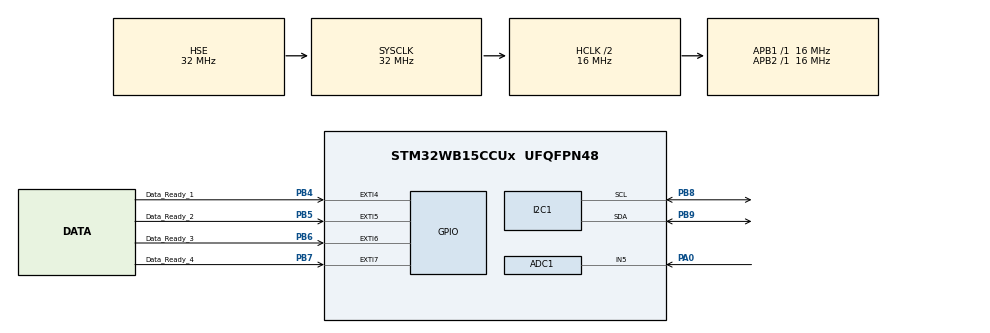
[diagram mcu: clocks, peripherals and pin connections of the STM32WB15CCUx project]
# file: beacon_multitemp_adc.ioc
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ADC1.Channel-1\#ChannelRegularConversion=ADC_CHANNEL_5
ADC1.ClockPrescaler=ADC_CLOCK_SYNC_PCLK_DIV4
ADC1.ExternalTrigConv=ADC_EXTERNALTRIG_T2_TRGO
ADC1.NbrOfConversionFlag=1
ADC1.Overrun=ADC_OVR_DATA_OVERWRITTEN
ADC1.Rank-1\#ChannelRegularConversion=1
ADC1.SamplingTime-1\#ChannelRegularConversion=ADC_SAMPLINGTIME_COMMON_1
ADC1.SamplingTimeCommon1=ADC_SAMPLETIME_79CYCLES_5
ADC1.SelectedChannel=ADC_CHANNEL_5
ADC1.master=1
Dma.ADC1.0.Direction=DMA_PERIPH_TO_MEMORY
Dma.ADC1.0.EventEnable=DISABLE
Dma.ADC1.0.Instance=DMA1_Channel1
Dma.ADC1.0.MemDataAlignment=DMA_MDATAALIGN_HALFWORD
Dma.ADC1.0.MemInc=DMA_MINC_ENABLE
Dma.ADC1.0.Mode=DMA_CIRCULAR
Dma.ADC1.0.PeriphDataAlignment=DMA_PDATAALIGN_HALFWORD
Dma.ADC1.0.PeriphInc=DMA_PINC_DISABLE
Dma.ADC1.0.Polarity=HAL_DMAMUX_REQ_GEN_RISING
Dma.ADC1.0.Priority=DMA_PRIORITY_LOW
Dma.ADC1.0.RequestNumber=1
Dma.ADC1.0.SignalID=NONE
Dma.ADC1.0.SyncEnable=DISABLE
Dma.ADC1.0.SyncPolarity=HAL_DMAMUX_SYNC_NO_EVENT
Dma.ADC1.0.SyncRequestNumber=1
Dma.ADC1.0.SyncSignalID=NONE
Dma.Request0=ADC1
I2C1.Timing=0x00303D5B
Mcu.Family=STM32WB
Mcu.Name=STM32WB15CCUx
Mcu.Package=UFQFPN48
NVIC.ADC1_IRQn=true\:0\:0\:false\:false\:true\:true\:true\:true
NVIC.DMA1_Channel1_IRQn=true\:0\:0\:false\:false\:true\:false\:true\:true
NVIC.EXTI4_IRQn=true\:15\:0\:true\:false\:true\:true\:true\:true
NVIC.EXTI9_5_IRQn=true\:15\:0\:true\:false\:true\:true\:true\:true
NVIC.HSEM_IRQn=true\:0\:0\:false\:false\:true\:false\:true\:true
NVIC.IPCC_C1_RX_IRQn=true\:0\:0\:false\:false\:true\:true\:true\:true
NVIC.IPCC_C1_TX_IRQn=true\:0\:0\:false\:false\:true\:true\:true\:true
NVIC.PriorityGroup=NVIC_PRIORITYGROUP_4
NVIC.RTC_WKUP_IRQn=true\:15\:0\:true\:false\:true\:true\:true\:true
OSC_IN.Mode=HSE-External-Oscillator
OSC_IN.Signal=RCC_OSC_IN
OSC_OUT.Mode=HSE-External-Oscillator
OSC_OUT.Signal=RCC_OSC_OUT
PA0.Signal=ADCx_IN5
PB4.GPIO_Label=Data_Ready_1
PB4.GPIO_ModeDefaultEXTI=GPIO_MODE_IT_FALLING
PB4.Signal=GPXTI4
PB5.GPIO_Label=Data_Ready_2
PB5.GPIO_ModeDefaultEXTI=GPIO_MODE_IT_FALLING
PB5.Signal=GPXTI5
PB6.GPIO_Label=Data_Ready_3
PB6.GPIO_ModeDefaultEXTI=GPIO_MODE_IT_FALLING
PB6.Signal=GPXTI6
PB7.GPIO_Label=Data_Ready_4
PB7.GPIO_ModeDefaultEXTI=GPIO_MODE_IT_FALLING
PB7.Signal=GPXTI7
PB8.Mode=I2C
PB8.Signal=I2C1_SCL
PB9.Mode=I2C
PB9.Signal=I2C1_SDA
PC14-OSC32_IN.Mode=LSE-External-Oscillator
PC14-OSC32_IN.Signal=RCC_OSC32_IN
PC15-OSC32_OUT.Mode=LSE-External-Oscillator
PC15-OSC32_OUT.Signal=RCC_OSC32_OUT
ProjectManager.HeapSize=0x200
ProjectManager.StackSize=0x400
ProjectManager.TargetToolchain=STM32CubeIDE
RCC.AHBCLKDivider=RCC_SYSCLK_DIV2
RCC.AHBFreq_Value=16000000
RCC.APB1Freq_Value=16000000
RCC.APB1TimFreq_Value=16000000
RCC.APB2Freq_Value=16000000
RCC.APB2TimFreq_Value=16000000
RCC.APB3Freq_Value=16000000
RCC.CortexFreq_Value=16000000
RCC.HCLKFreq_Value=16000000
RCC.HSE_VALUE=32000000
RCC.HSI_VALUE=16000000
RCC.LSE_Drive_Capability=RCC_LSEDRIVE_LOW
RCC.MSIClockRange=RCC_MSIRANGE_10
RCC.RFWKPClockSelection=RCC_RFWKPCLKSOURCE_LSE
RCC.RTCClockSelection=RCC_RTCCLKSOURCE_LSE
RCC.SYSCLKFreq_VALUE=32000000
RCC.SYSCLKSource=RCC_SYSCLKSOURCE_HSE
RCC.VCOOutputFreq_Value=256000000
RF1.Mode=RF1_Activate
RF1.Signal=RF_RF1
RTC.WakeUpCounter-WakeUp=0xFFFF
SH.ADCx_IN5.0=ADC1_IN5,IN5-Single-Ended
STM32_WPAN.BT_SIG_BEACON=CFG_IBEACON
STM32_WPAN.CFG_BLE_ATT_VALUE_ARRAY_SIZE=1290
STM32_WPAN.CFG_BLE_NUM_GATT_ATTRIBUTES=30
STM32_WPAN.CFG_BLE_NUM_GATT_SERVICES=4
STM32_WPAN.CFG_DEBUGGER_SUPPORTED=0
STM32_WPAN.CFG_IO_CAPABILITY=\ CFG_IO_CAPABILITY_NO_INPUT_NO_OUTPUT
STM32_WPAN.CFG_LPM_SUPPORTED=1
STM32_WPAN.CFG_TX_POWER=(0x19) /* 0dBm */
STM32_WPAN.CFG_USE_SMPS=1
STM32_WPAN.DBG_TRACE_USE_CIRCULAR_QUEUE=0
TIM2.Period=tim_period
TIM2.Prescaler=tim_prescaler
TIM2.TIM_MasterOutputTrigger=TIM_TRGO_UPDATE
VP_HSEM_VS_HSEM.Mode=HSEM_Activate
VP_IPCC_VS_IPCC.Mode=IPCC_Activate
VP_RTC_VS_RTC_Activate.Mode=RTC_Enabled
VP_RTC_VS_RTC_WakeUp_intern.Mode=WakeUp
VP_SEQUENCER_VS_SEQUENCER.Mode=SEQUENCER_Enabled
VP_STM32_WPAN_VS_BLE_HOST.Mode=STM32_WPAN_Enabled
VP_TIM2_VS_ClockSourceINT.Mode=Internal
VP_TINY_LPM_VS_TINY_LPM.Mode=TINY_LPM_Enabled
board=custom

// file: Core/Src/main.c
/* USER CODE BEGIN Header */
/**
  ******************************************************************************
  * @file           : main.c
  * @brief          : Main program body
  ******************************************************************************
  * @attention
  *
  * Copyright (c) 2023 STMicroelectronics.
  * All rights reserved.
  *
  * This software is licensed under terms that can be found in the LICENSE file
  * in the root directory of this software component.
  * If no LICENSE file comes with this software, it is provided AS-IS.
  *
  ******************************************************************************
  */
/* USER CODE END Header */
#include "main.h"

/* USER CODE BEGIN Includes */
#include "stm32_seq.h"
/* USER CODE END Includes */

ADC_HandleTypeDef hadc1;
DMA_HandleTypeDef hdma_adc1;

I2C_HandleTypeDef hi2c1;

IPCC_HandleTypeDef hipcc;

RTC_HandleTypeDef hrtc;

TIM_HandleTypeDef htim2;

/* USER CODE BEGIN PV */
/* Variables for ADC conversion data */
 __IO uint16_t uhADCxConvertedData[ADC_CONVERTED_DATA_BUFFER_SIZE]; /* ADC group regular conversion data (array of data) */

/* Variables for ADC conversion data computation to physical values */
 __IO uint16_t uhADCxConvertedData_Voltage_mVolt[ADC_CONVERTED_DATA_BUFFER_SIZE];  /* Value of voltage calculated from ADC conversion data (unit: mV) (array of data) */

/* Variable to report status of DMA transfer of ADC group regular conversions */
/*  0: DMA transfer is not completed                                          */
/*  1: DMA transfer is completed                                              */
/*  2: DMA transfer has not yet been started yet (initial state)              */
__IO uint8_t ubDmaTransferStatus = 2U; /* Variable set into DMA interruption callback */

uint8_t deviceToBeRead = 0;
/* USER CODE END PV */

void SystemClock_Config(void);
void PeriphCommonClock_Config(void);
static void MX_GPIO_Init(void);
static void MX_DMA_Init(void);
static void MX_RTC_Init(void);
static void MX_I2C1_Init(void);
static void MX_IPCC_Init(void);
static void MX_ADC1_Init(void);
static void MX_TIM2_Init(void);
static void MX_RF_Init(void);

int main(void)
{
  /* USER CODE BEGIN 1 */
	uint32_t tmp_index;

	  /* Initialize ADC group regular data buffer values */
	  for (tmp_index = 0; tmp_index < ADC_CONVERTED_DATA_BUFFER_SIZE; tmp_index++)
	  {
	    uhADCxConvertedData[tmp_index] = VAR_CONVERTED_DATA_INIT_VALUE;
	  }
  /* USER CODE END 1 */

  /* MCU Configuration--------------------------------------------------------*/

  /* Reset of all peripherals, Initializes the Flash interface and the Systick. */
  HAL_Init();
  /* Config code for STM32_WPAN (HSE Tuning must be done before system clock configuration) */
  MX_APPE_Config();

  /* Configure the system clock */
  SystemClock_Config();

/* Configure the peripherals common clocks */
  PeriphCommonClock_Config();

  /* IPCC initialisation */
  MX_IPCC_Init();

  /* Initialize all configured peripherals */
  MX_GPIO_Init();
  MX_DMA_Init();
  MX_RTC_Init();
  MX_I2C1_Init();
  MX_ADC1_Init();
  MX_TIM2_Init();
  MX_RF_Init();
  /* USER CODE BEGIN 2 */

  /* Perform ADC calibration */
   if (HAL_ADCEx_Calibration_Start(&hadc1, ADC_SINGLE_ENDED) != HAL_OK)
   {
     /* Calibration Error */
     Error_Handler();
   }

   /* Start ADC group regular conversion */
   if (HAL_ADC_Start_DMA(&hadc1,
                         (uint32_t *)uhADCxConvertedData,
                         ADC_CONVERTED_DATA_BUFFER_SIZE
                        ) != HAL_OK)
   {
     /* Error: ADC conversion start could not be performed */
     Error_Handler();
   }

   /* Start time base */
   if (HAL_TIM_Base_Start(&htim2) != HAL_OK)
   {
     /* Starting Error */
     Error_Handler();
   }

  /* USER CODE END 2 */

  /* Init code for STM32_WPAN */
  MX_APPE_Init();

  /* Infinite loop */
  while (1)
  {
    MX_APPE_Process();

  }
}

void SystemClock_Config(void)
{
  RCC_OscInitTypeDef RCC_OscInitStruct = {0};
  RCC_ClkInitTypeDef RCC_ClkInitStruct = {0};

  /** Configure LSE Drive Capability
  */
  HAL_PWR_EnableBkUpAccess();
  __HAL_RCC_LSEDRIVE_CONFIG(RCC_LSEDRIVE_LOW);

  /** Initializes the RCC Oscillators according to the specified parameters
  * in the RCC_OscInitTypeDef structure.
  */
  RCC_OscInitStruct.OscillatorType = RCC_OSCILLATORTYPE_HSI|RCC_OSCILLATORTYPE_HSE
                              |RCC_OSCILLATORTYPE_LSE;
  RCC_OscInitStruct.HSEState = RCC_HSE_ON;
  RCC_OscInitStruct.LSEState = RCC_LSE_ON;
  RCC_OscInitStruct.HSIState = RCC_HSI_ON;
  RCC_OscInitStruct.HSICalibrationValue = RCC_HSICALIBRATION_DEFAULT;
  RCC_OscInitStruct.PLL.PLLState = RCC_PLL_NONE;
  if (HAL_RCC_OscConfig(&RCC_OscInitStruct) != HAL_OK)
  {
    Error_Handler();
  }

  /** Configure the SYSCLKSource, HCLK, PCLK1 and PCLK2 clocks dividers
  */
  RCC_ClkInitStruct.ClockType = RCC_CLOCKTYPE_HCLK4|RCC_CLOCKTYPE_HCLK2
                              |RCC_CLOCKTYPE_HCLK|RCC_CLOCKTYPE_SYSCLK
                              |RCC_CLOCKTYPE_PCLK1|RCC_CLOCKTYPE_PCLK2;
  RCC_ClkInitStruct.SYSCLKSource = RCC_SYSCLKSOURCE_HSE;
  RCC_ClkInitStruct.AHBCLKDivider = RCC_SYSCLK_DIV2;
  RCC_ClkInitStruct.APB1CLKDivider = RCC_HCLK_DIV1;
  RCC_ClkInitStruct.APB2CLKDivider = RCC_HCLK_DIV1;
  RCC_ClkInitStruct.AHBCLK2Divider = RCC_SYSCLK_DIV1;
  RCC_ClkInitStruct.AHBCLK4Divider = RCC_SYSCLK_DIV1;

  if (HAL_RCC_ClockConfig(&RCC_ClkInitStruct, FLASH_LATENCY_1) != HAL_OK)
  {
    Error_Handler();
  }
}

void PeriphCommonClock_Config(void)
{
  RCC_PeriphCLKInitTypeDef PeriphClkInitStruct = {0};

  /** Initializes the peripherals clock
  */
  PeriphClkInitStruct.PeriphClockSelection = RCC_PERIPHCLK_SMPS|RCC_PERIPHCLK_RFWAKEUP;
  PeriphClkInitStruct.RFWakeUpClockSelection = RCC_RFWKPCLKSOURCE_LSE;
  PeriphClkInitStruct.SmpsClockSelection = RCC_SMPSCLKSOURCE_HSI;
  PeriphClkInitStruct.SmpsDivSelection = RCC_SMPSCLKDIV_RANGE1;

  if (HAL_RCCEx_PeriphCLKConfig(&PeriphClkInitStruct) != HAL_OK)
  {
    Error_Handler();
  }
}

static void MX_ADC1_Init(void)
{

  ADC_ChannelConfTypeDef sConfig = {0};

  /** Common config
  */
  hadc1.Instance = ADC1;
  hadc1.Init.ClockPrescaler = ADC_CLOCK_SYNC_PCLK_DIV4;
  hadc1.Init.Resolution = ADC_RESOLUTION_12B;
  hadc1.Init.DataAlign = ADC_DATAALIGN_RIGHT;
  hadc1.Init.ScanConvMode = ADC_SCAN_DISABLE;
  hadc1.Init.EOCSelection = ADC_EOC_SINGLE_CONV;
  hadc1.Init.SamplingTimeCommon1 = ADC_SAMPLETIME_79CYCLES_5;
  hadc1.Init.SamplingTimeCommon2 = ADC_SAMPLETIME_1CYCLE_5;
  hadc1.Init.LowPowerAutoWait = DISABLE;
  hadc1.Init.ContinuousConvMode = DISABLE;
  hadc1.Init.NbrOfConversion = 1;
  hadc1.Init.DiscontinuousConvMode = DISABLE;
  hadc1.Init.ExternalTrigConv = ADC_EXTERNALTRIG_T2_TRGO;
  hadc1.Init.ExternalTrigConvEdge = ADC_EXTERNALTRIGCONVEDGE_RISING;
  hadc1.Init.DMAContinuousRequests = DISABLE;
  hadc1.Init.Overrun = ADC_OVR_DATA_OVERWRITTEN;
  if (HAL_ADC_Init(&hadc1) != HAL_OK)
  {
    Error_Handler();
  }

  /** Configure Regular Channel
  */
  sConfig.Channel = ADC_CHANNEL_5;
  sConfig.Rank = ADC_REGULAR_RANK_1;
  sConfig.SamplingTime = ADC_SAMPLINGTIME_COMMON_1;
  if (HAL_ADC_ConfigChannel(&hadc1, &sConfig) != HAL_OK)
  {
    Error_Handler();
  }

}

static void MX_I2C1_Init(void)
{

  hi2c1.Instance = I2C1;
  hi2c1.Init.Timing = 0x00303D5B;
  hi2c1.Init.OwnAddress1 = 0;
  hi2c1.Init.AddressingMode = I2C_ADDRESSINGMODE_7BIT;
  hi2c1.Init.DualAddressMode = I2C_DUALADDRESS_DISABLE;
  hi2c1.Init.OwnAddress2 = 0;
  hi2c1.Init.OwnAddress2Masks = I2C_OA2_NOMASK;
  hi2c1.Init.GeneralCallMode = I2C_GENERALCALL_DISABLE;
  hi2c1.Init.NoStretchMode = I2C_NOSTRETCH_DISABLE;
  if (HAL_I2C_Init(&hi2c1) != HAL_OK)
  {
    Error_Handler();
  }

  /** Configure Analogue filter
  */
  if (HAL_I2CEx_ConfigAnalogFilter(&hi2c1, I2C_ANALOGFILTER_ENABLE) != HAL_OK)
  {
    Error_Handler();
  }

  /** Configure Digital filter
  */
  if (HAL_I2CEx_ConfigDigitalFilter(&hi2c1, 0) != HAL_OK)
  {
    Error_Handler();
  }

}

static void MX_IPCC_Init(void)
{

  hipcc.Instance = IPCC;
  if (HAL_IPCC_Init(&hipcc) != HAL_OK)
  {
    Error_Handler();
  }

}

static void MX_RF_Init(void)
{

}

static void MX_RTC_Init(void)
{

  /** Initialize RTC Only
  */
  hrtc.Instance = RTC;
  hrtc.Init.HourFormat = RTC_HOURFORMAT_24;
  hrtc.Init.AsynchPrediv = CFG_RTC_ASYNCH_PRESCALER;
  hrtc.Init.SynchPrediv = CFG_RTC_SYNCH_PRESCALER;
  hrtc.Init.OutPut = RTC_OUTPUT_DISABLE;
  hrtc.Init.OutPutPolarity = RTC_OUTPUT_POLARITY_HIGH;
  hrtc.Init.OutPutRemap = RTC_OUTPUT_REMAP_NONE;
  if (HAL_RTC_Init(&hrtc) != HAL_OK)
  {
    Error_Handler();
  }

  /** Enable the WakeUp
  */
  if (HAL_RTCEx_SetWakeUpTimer_IT(&hrtc, 0xFFFF, RTC_WAKEUPCLOCK_RTCCLK_DIV16) != HAL_OK)
  {
    Error_Handler();
  }
  /* USER CODE BEGIN RTC_Init 2 */
  HAL_RTCEx_DeactivateWakeUpTimer(&hrtc);
  /* USER CODE END RTC_Init 2 */

}

static void MX_TIM2_Init(void)
{

  /* USER CODE BEGIN TIM2_Init 0 */
	uint32_t tim_prescaler;
	  uint32_t tim_period;
  /* USER CODE END TIM2_Init 0 */

  TIM_ClockConfigTypeDef sClockSourceConfig = {0};
  TIM_MasterConfigTypeDef sMasterConfig = {0};

  /* USER CODE BEGIN TIM2_Init 1 */
  /* Set timer prescaler value (timer frequency) */
    /* Note: Value TIMER_FREQUENCY_RANGE_MAX_HZ with factor 2 to have a minimum
             timer resolution */
    tim_prescaler = __LL_TIM_CALC_PSC(SystemCoreClock, TIMER_FREQUENCY_RANGE_MAX_HZ * 2);

    /* Set timer period value (time base frequency) */
    tim_period = __LL_TIM_CALC_ARR(SystemCoreClock, tim_prescaler, TIMER_FREQUENCY_HZ);

  /* USER CODE END TIM2_Init 1 */
  htim2.Instance = TIM2;
  htim2.Init.Prescaler = tim_prescaler;
  htim2.Init.CounterMode = TIM_COUNTERMODE_UP;
  htim2.Init.Period = tim_period;
  htim2.Init.ClockDivision = TIM_CLOCKDIVISION_DIV1;
  htim2.Init.AutoReloadPreload = TIM_AUTORELOAD_PRELOAD_DISABLE;
  if (HAL_TIM_Base_Init(&htim2) != HAL_OK)
  {
    Error_Handler();
  }
  sClockSourceConfig.ClockSource = TIM_CLOCKSOURCE_INTERNAL;
  if (HAL_TIM_ConfigClockSource(&htim2, &sClockSourceConfig) != HAL_OK)
  {
    Error_Handler();
  }
  sMasterConfig.MasterOutputTrigger = TIM_TRGO_UPDATE;
  sMasterConfig.MasterSlaveMode = TIM_MASTERSLAVEMODE_DISABLE;
  if (HAL_TIMEx_MasterConfigSynchronization(&htim2, &sMasterConfig) != HAL_OK)
  {
    Error_Handler();
  }

}

static void MX_DMA_Init(void)
{

  /* DMA controller clock enable */
  __HAL_RCC_DMAMUX1_CLK_ENABLE();
  __HAL_RCC_DMA1_CLK_ENABLE();

  /* DMA interrupt init */
  /* DMA1_Channel1_IRQn interrupt configuration */
  HAL_NVIC_SetPriority(DMA1_Channel1_IRQn, 0, 0);
  HAL_NVIC_EnableIRQ(DMA1_Channel1_IRQn);

}

static void MX_GPIO_Init(void)
{
  GPIO_InitTypeDef GPIO_InitStruct = {0};

  /* GPIO Ports Clock Enable */
  __HAL_RCC_GPIOC_CLK_ENABLE();
  __HAL_RCC_GPIOH_CLK_ENABLE();
  __HAL_RCC_GPIOB_CLK_ENABLE();
  __HAL_RCC_GPIOA_CLK_ENABLE();
  __HAL_RCC_GPIOE_CLK_ENABLE();

  /*Configure GPIO pin : PH3 */
  GPIO_InitStruct.Pin = GPIO_PIN_3;
  GPIO_InitStruct.Mode = GPIO_MODE_ANALOG;
  GPIO_InitStruct.Pull = GPIO_NOPULL;
  HAL_GPIO_Init(GPIOH, &GPIO_InitStruct);

  /*Configure GPIO pins : PA1 PA2 PA3 PA4
                           PA5 PA6 PA7 PA8
                           PA9 PA10 PA11 PA12
                           PA13 PA14 PA15 */
  GPIO_InitStruct.Pin = GPIO_PIN_1|GPIO_PIN_2|GPIO_PIN_3|GPIO_PIN_4
                          |GPIO_PIN_5|GPIO_PIN_6|GPIO_PIN_7|GPIO_PIN_8
                          |GPIO_PIN_9|GPIO_PIN_10|GPIO_PIN_11|GPIO_PIN_12
                          |GPIO_PIN_13|GPIO_PIN_14|GPIO_PIN_15;
  GPIO_InitStruct.Mode = GPIO_MODE_ANALOG;
  GPIO_InitStruct.Pull = GPIO_NOPULL;
  HAL_GPIO_Init(GPIOA, &GPIO_InitStruct);

  /*Configure GPIO pins : PB2 PB0 PB1 PB3 */
  GPIO_InitStruct.Pin = GPIO_PIN_2|GPIO_PIN_0|GPIO_PIN_1|GPIO_PIN_3;
  GPIO_InitStruct.Mode = GPIO_MODE_ANALOG;
  GPIO_InitStruct.Pull = GPIO_NOPULL;
  HAL_GPIO_Init(GPIOB, &GPIO_InitStruct);

  /*Configure GPIO pin : PE4 */
  GPIO_InitStruct.Pin = GPIO_PIN_4;
  GPIO_InitStruct.Mode = GPIO_MODE_ANALOG;
  GPIO_InitStruct.Pull = GPIO_NOPULL;
  HAL_GPIO_Init(GPIOE, &GPIO_InitStruct);

  /*Configure GPIO pins : Data_Ready_1_Pin Data_Ready_2_Pin Data_Ready_3_Pin Data_Ready_4_Pin */
  GPIO_InitStruct.Pin = Data_Ready_1_Pin|Data_Ready_2_Pin|Data_Ready_3_Pin|Data_Ready_4_Pin;
  GPIO_InitStruct.Mode = GPIO_MODE_IT_FALLING;
  GPIO_InitStruct.Pull = GPIO_NOPULL;
  HAL_GPIO_Init(GPIOB, &GPIO_InitStruct);

  /* EXTI interrupt init*/
  HAL_NVIC_SetPriority(EXTI4_IRQn, 15, 0);
  HAL_NVIC_EnableIRQ(EXTI4_IRQn);

  HAL_NVIC_SetPriority(EXTI9_5_IRQn, 15, 0);
  HAL_NVIC_EnableIRQ(EXTI9_5_IRQn);

}

/* USER CODE BEGIN 4 */
void HAL_GPIO_EXTI_Callback(uint16_t GPIO_Pin) {
	if(GPIO_Pin == Data_Ready_1_Pin) {
		SystemClock_Config ();
		HAL_ResumeTick();
		deviceToBeRead = 1;
		UTIL_SEQ_SetTask(1<<CFG_TASK_UPDATE_TEMP, CFG_SCH_PRIO_0);
	}
	else if(GPIO_Pin == Data_Ready_2_Pin) {
		SystemClock_Config ();
		HAL_ResumeTick();
		deviceToBeRead = 2;
		UTIL_SEQ_SetTask(1<<CFG_TASK_UPDATE_TEMP, CFG_SCH_PRIO_0);
	}
	else if(GPIO_Pin == Data_Ready_3_Pin) {
		SystemClock_Config ();
		HAL_ResumeTick();
		deviceToBeRead = 3;
		UTIL_SEQ_SetTask(1<<CFG_TASK_UPDATE_TEMP, CFG_SCH_PRIO_0);
	}
	else if(GPIO_Pin == Data_Ready_4_Pin) {
		SystemClock_Config ();
		HAL_ResumeTick();
		deviceToBeRead = 4;
		UTIL_SEQ_SetTask(1<<CFG_TASK_UPDATE_TEMP, CFG_SCH_PRIO_0);
	}
}
/* USER CODE END 4 */

void Error_Handler(void)
{
  __disable_irq();
  while (1)
  {
  }
}
